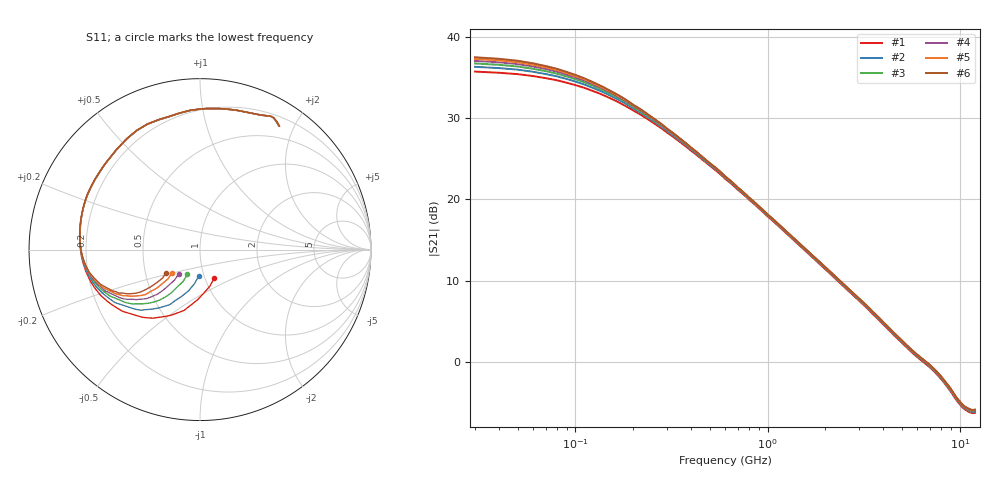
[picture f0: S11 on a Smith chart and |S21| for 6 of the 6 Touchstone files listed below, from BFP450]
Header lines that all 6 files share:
! Infineon Technologies  Discrete & RF Semiconductors
! BFP450
! Common Emitter S-Parameters:  Nov 2015
# GHz  S  MA  R  50
!  f  S11  S21  S12  S22
! GHz  MAG  ANG  MAG  ANG  MAG  ANG  MAG  ANG
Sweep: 30 MHz to 12 GHz
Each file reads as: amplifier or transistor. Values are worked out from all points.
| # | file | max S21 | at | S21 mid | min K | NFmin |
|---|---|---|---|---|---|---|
| 1 | BFP450_w_noise_VCE_4.0V_IC_40mA.s2p | 35.7 dB | 30 MHz | 12.0 dB at 1.88 GHz | 0.38 | 1.41 dB |
| 2 | BFP450_w_noise_VCE_4.0V_IC_50mA.s2p | 36.3 dB | 30 MHz | 12.1 dB at 1.88 GHz | 0.42 | 1.55 dB |
| 3 | BFP450_w_noise_VCE_4.0V_IC_60mA.s2p | 36.7 dB | 30 MHz | 12.1 dB at 1.88 GHz | 0.44 | 1.69 dB |
| 4 | BFP450_w_noise_VCE_4.0V_IC_70mA.s2p | 37.0 dB | 30 MHz | 12.2 dB at 1.88 GHz | 0.46 | 1.81 dB |
| 5 | BFP450_w_noise_VCE_4.0V_IC_80mA.s2p | 37.3 dB | 30 MHz | 12.2 dB at 1.88 GHz | 0.47 | 1.90 dB |
| 6 | BFP450_w_noise_VCE_4.0V_IC_90mA.s2p | 37.5 dB | 30 MHz | 12.2 dB at 1.88 GHz | 0.48 | 2.02 dB |

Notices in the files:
BFP450/BFP450_w_noise_VCE_4.0V_IC_40mA.s2p:
(c) 2015  Infineon Technologies AG, Munich
